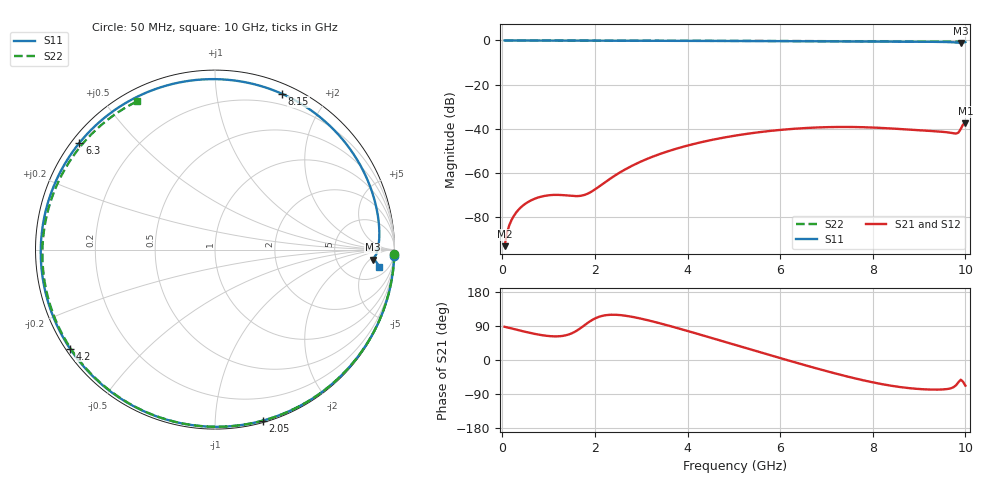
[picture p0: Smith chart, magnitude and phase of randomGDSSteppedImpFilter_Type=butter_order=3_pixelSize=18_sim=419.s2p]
! freq	dB(S11)	phase(S11)	dB(S12)	phase(S12)
!  dB(S21)	phase(S21)	dB(S22)	phase(S22)
!S-par simulation data
#  GHz  S  DB  R 50
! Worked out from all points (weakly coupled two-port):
!   200 points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, 50 MHz to 10 GHz, reference 50 ohm
!   highest |S21| = -37.53 dB at 10 GHz (marker M1); lowest = -93.2 dB at 50 MHz (marker M2)
!   lowest |S11| = -1.1 dB at 9.9 GHz (marker M3), VSWR 15.60, Z = 625 - j310 ohm
!   |S11| at or under -10 dB: nowhere
!   |S22| runs from -0.6 to 0.0 dB; largest |S21 - S12| = 0
!   S11 on the Smith chart (normalised r, x): 50 MHz: 1, -60; 2.05 GHz: 0.01, -1.32; 4.2 GHz: 0.01, -0.31; 6.3 GHz: 0.02, +0.35; 8.15 GHz: 0.09, +1.52; 10 GHz: 9, -12
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0.05  -0.01 -1.9  -93.20 87.7  -93.20 87.7  -0.00 -1.5
0.25  -0.01 -9.4  -79.45 81.8  -79.45 81.8  -0.01 -7.4
0.5  -0.02 -18.7  -73.95 74.3  -73.95 74.3  -0.02 -14.8
0.8  -0.03 -29.7  -70.99 66.6  -70.99 66.6  -0.03 -23.6
1.75  -0.08 -63.8  -70.13 89.5  -70.13 89.5  -0.06 -50.6
2.05  -0.09 -74.3  -66.79 112.2  -66.79 112.2  -0.07 -58.8
2.7  -0.12 -96.4  -57.90 116.1  -57.90 116.1  -0.09 -75.9
3.4  -0.15 -119.5  -51.47 97.0  -51.47 97.0  -0.12 -93.5
4.2  -0.19 -145.7  -46.57 69.6  -46.57 69.6  -0.15 -112.4
5.05  -0.25 -173.9  -43.05 39.1  -43.05 39.1  -0.19 -131.5
5.7  -0.29 163.7  -41.19 15.8  -41.19 15.8  -0.22 -145.6
6.3  -0.34 141.8  -40.01 -5.5  -40.01 -5.5  -0.26 -158.4
6.7  -0.38 126.5  -39.51 -19.3  -39.51 -19.3  -0.29 -167.0
7.45  -0.44 96.2  -39.19 -43.6  -39.19 -43.6  -0.35 177.0
8.15  -0.49 66.6  -39.60 -62.6  -39.60 -62.6  -0.42 161.6
8.35  -0.51 58.1  -39.82 -67.0  -39.82 -67.0  -0.43 157.1
8.8  -0.55 38.9  -40.41 -74.4  -40.41 -74.4  -0.48 146.9
9.2  -0.60 22.1  -40.95 -77.8  -40.95 -77.8  -0.52 137.4
9.8  -0.94 -1.8  -42.16 -66.4  -42.16 -66.4  -0.58 122.7
9.9  -1.11 -3.7  -40.08 -52.1  -40.08 -52.1  -0.59 120.2
9.95  -0.95 -4.0  -38.07 -57.4  -38.07 -57.4  -0.60 119.0
10  -0.71 -5.9  -37.53 -67.6  -37.53 -67.6  -0.60 117.7
